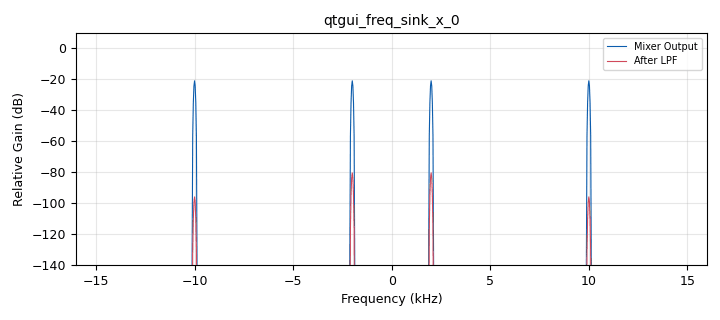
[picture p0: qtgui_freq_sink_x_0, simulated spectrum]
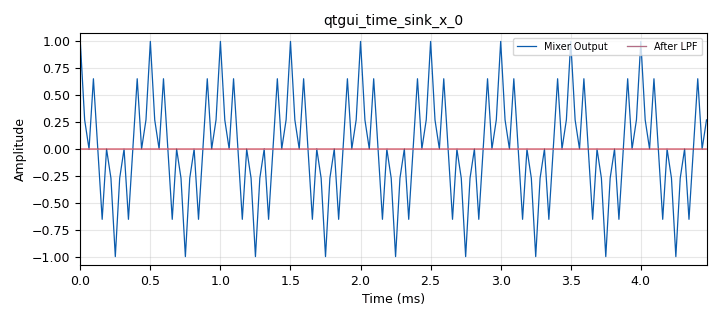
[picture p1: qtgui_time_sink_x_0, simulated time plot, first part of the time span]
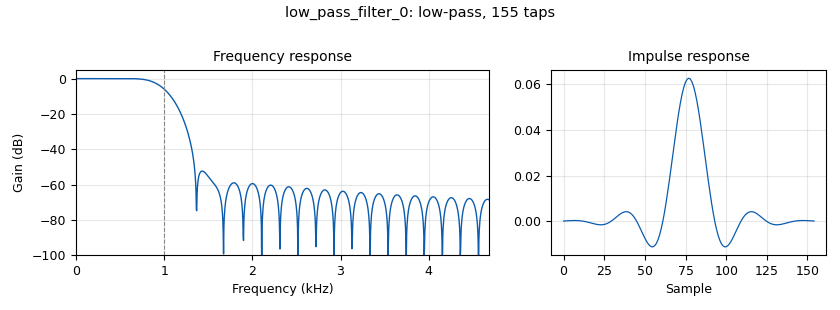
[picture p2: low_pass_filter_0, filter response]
options:
  parameters:
    author: Dhrubjun
    generate_options: qt_gui
    id: exp2
    output_language: python
    title: Real Downconversion to Baseband
  states: {}

blocks:
- name: lo_freq
  id: variable_qtgui_range
  parameters:
    label: LO Frequency
    start: '1000'
    step: '500'
    stop: '7000'
    value: '4000'
  states: {}
- name: samp_rate
  id: variable
  parameters:
    value: '32000'
  states: {}
- name: analog_sig_source_x_0
  id: analog_sig_source_x
  parameters:
    amp: '1'
    freq: '6000'
    offset: '0'
    phase: '0'
    samp_rate: samp_rate
    type: float
    waveform: analog.GR_COS_WAVE
  states: {}
- name: analog_sig_source_x_0_0
  id: analog_sig_source_x
  parameters:
    amp: '1'
    freq: lo_freq
    offset: '0'
    phase: '0'
    samp_rate: samp_rate
    type: float
    waveform: analog.GR_COS_WAVE
  states: {}
- name: blocks_multiply_xx_0
  id: blocks_multiply_xx
  parameters:
    type: float
  states: {}
- name: blocks_throttle2_0
  id: blocks_throttle2
  parameters:
    samples_per_second: samp_rate
    type: float
  states: {}
- name: low_pass_filter_0
  id: low_pass_filter
  parameters:
    cutoff_freq: '1000'
    decim: '1'
    gain: '1'
    samp_rate: samp_rate
    type: fir_filter_fff
    width: '500'
    win: window.WIN_HAMMING
  states: {}
- name: qtgui_freq_sink_x_0
  id: qtgui_freq_sink_x
  parameters:
    bw: samp_rate
    color1: '"red"'
    color2: '"black"'
    fc: '0'
    fftsize: '1024'
    grid: 'True'
    label1: Mixer Output
    label2: After LPF
    nconnections: '2'
    type: float
  states: {}
- name: qtgui_time_sink_x_0
  id: qtgui_time_sink_x
  parameters:
    grid: 'True'
    label1: Mixer Output
    label2: After LPF
    nconnections: '2'
    size: '256'
    srate: samp_rate
    type: float
  states: {}

connections:
- [analog_sig_source_x_0, '0', blocks_multiply_xx_0, '0']
- [analog_sig_source_x_0_0, '0', blocks_multiply_xx_0, '1']
- [blocks_multiply_xx_0, '0', blocks_throttle2_0, '0']
- [blocks_throttle2_0, '0', low_pass_filter_0, '0']
- [blocks_throttle2_0, '0', qtgui_freq_sink_x_0, '0']
- [blocks_throttle2_0, '0', qtgui_time_sink_x_0, '0']
- [low_pass_filter_0, '0', qtgui_freq_sink_x_0, '1']
- [low_pass_filter_0, '0', qtgui_time_sink_x_0, '1']

metadata:
  file_format: 1
  grc_version: 3.10.12.0
